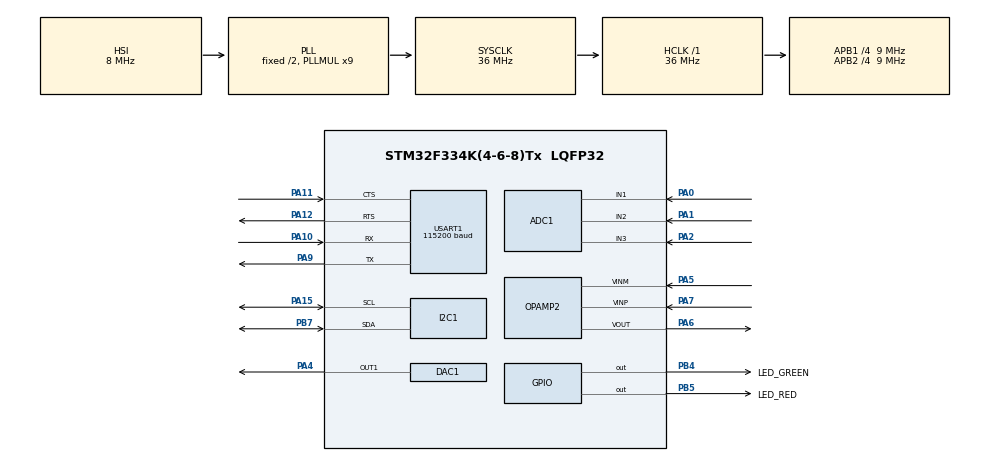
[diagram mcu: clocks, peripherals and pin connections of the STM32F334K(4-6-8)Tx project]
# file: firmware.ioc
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ADC1.Channel-1\#ChannelRegularConversion=ADC_CHANNEL_1
ADC1.NbrOfConversionFlag=1
ADC1.Offset-1\#ChannelRegularConversion=0
ADC1.OffsetNumber-1\#ChannelRegularConversion=ADC_OFFSET_NONE
ADC1.Rank-1\#ChannelRegularConversion=1
ADC1.SamplingTime-1\#ChannelRegularConversion=ADC_SAMPLETIME_1CYCLE_5
ADC1.SubFamily=STM32F334x8
ADC1.master=1
DAC1.DAC_Trigger=DAC_TRIGGER_SOFTWARE
Mcu.Family=STM32F3
Mcu.Name=STM32F334K(4-6-8)Tx
Mcu.Package=LQFP32
NVIC.PriorityGroup=NVIC_PRIORITYGROUP_4
NVIC.RTC_WKUP_IRQn=true\:0\:0\:false\:false\:true\:true\:true\:true
NVIC.USART1_IRQn=true\:0\:0\:false\:false\:true\:true\:true\:true
PA0.Mode=IN1-Single-Ended
PA0.Signal=ADC1_IN1
PA1.Mode=IN2-Single-Ended
PA1.Signal=ADC1_IN2
PA10.Mode=Asynchronous
PA10.Signal=USART1_RX
PA11.Mode=CTS_RTS
PA11.Signal=USART1_CTS
PA12.Mode=CTS_RTS
PA12.Signal=USART1_RTS
PA13.Mode=Serial_Wire
PA13.Signal=SYS_JTMS-SWDIO
PA14.Mode=Serial_Wire
PA14.Signal=SYS_JTCK-SWCLK
PA15.Mode=I2C
PA15.Signal=I2C1_SCL
PA2.Mode=IN3-Single-Ended
PA2.Signal=ADC1_IN3
PA4.Signal=COMP_DAC11_group
PA5.Mode=Standalone
PA5.Signal=OPAMP2_VINM
PA6.Mode=Standalone
PA6.Signal=OPAMP2_VOUT
PA7.Mode=Standalone
PA7.Signal=OPAMP2_VINP
PA9.Mode=Asynchronous
PA9.Signal=USART1_TX
PB4.GPIO_Label=LED_GREEN
PB4.Signal=GPIO_Output
PB5.GPIO_Label=LED_RED
PB5.Signal=GPIO_Output
PB7.Mode=I2C
PB7.Signal=I2C1_SDA
ProjectManager.HeapSize=0x200
ProjectManager.StackSize=0x400
ProjectManager.TargetToolchain=STM32CubeIDE
RCC.AHBFreq_Value=36000000
RCC.APB1CLKDivider=RCC_HCLK_DIV4
RCC.APB1Freq_Value=9000000
RCC.APB1TimFreq_Value=18000000
RCC.APB2CLKDivider=RCC_HCLK_DIV4
RCC.APB2Freq_Value=9000000
RCC.APB2TimFreq_Value=18000000
RCC.CortexFreq_Value=36000000
RCC.HCLKFreq_Value=36000000
RCC.HSE_VALUE=8000000
RCC.HSI_VALUE=8000000
RCC.PLLMUL=RCC_PLL_MUL9
RCC.SYSCLKFreq_VALUE=36000000
RCC.SYSCLKSourceVirtual=RCC_SYSCLKSOURCE_PLLCLK
RCC.VDD_VALUE=3
RTC.WakeUpCounter=12500
SH.COMP_DAC11_group.0=DAC1_OUT1,DAC_OUT1
USART1.BaudRate=115200
USART1.VirtualMode-Asynchronous=VM_ASYNC
VP_RTC_VS_RTC_Activate.Mode=RTC_Enabled
VP_RTC_VS_RTC_Calendar.Mode=RTC_Calendar
VP_RTC_VS_RTC_WakeUp_intern.Mode=WakeUp
board=soft

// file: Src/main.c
/* USER CODE BEGIN Header */
/**
  ******************************************************************************
  * @file           : main.c
  * @brief          : Main program body
  ******************************************************************************
  * @attention
  *
  * Copyright (c) 2022 STMicroelectronics.
  * All rights reserved.
  *
  * This software is licensed under terms that can be found in the LICENSE file
  * in the root directory of this software component.
  * If no LICENSE file comes with this software, it is provided AS-IS.
  *
  ******************************************************************************
  */
/* USER CODE END Header */
#include "main.h"
#include "adc.h"
#include "dac.h"
#include "i2c.h"
#include "opamp.h"
#include "rtc.h"
#include "usart.h"
#include "gpio.h"

/* USER CODE BEGIN Includes */
#include <stdio.h>
/* USER CODE END Includes */

void SystemClock_Config(void);

int main(void)
{

  /* MCU Configuration--------------------------------------------------------*/

  /* Reset of all peripherals, Initializes the Flash interface and the Systick. */
  HAL_Init();

  /* Configure the system clock */
  SystemClock_Config();

  /* Initialize all configured peripherals */
  MX_GPIO_Init();
  MX_RTC_Init();
  MX_ADC1_Init();
  MX_DAC1_Init();
  MX_OPAMP2_Init();
  MX_USART1_UART_Init();
  MX_I2C1_Init();

  /* Infinite loop */
  /* USER CODE BEGIN WHILE */

	int rc = HAL_OPAMP_Start(&hopamp2);
	if (rc != HAL_OK) {
		printf("opamp start error: %d\n\r", rc);
		HAL_GPIO_WritePin(LED_RED_GPIO_Port, LED_RED_Pin, GPIO_PIN_SET);
		HAL_GPIO_WritePin(LED_GREEN_GPIO_Port, LED_GREEN_Pin, GPIO_PIN_SET);
		return -1;
	}

	int phase = 1; // start hi
	int cycle = 0;
	int led_state = 1;

	while (1) {
    /* USER CODE END WHILE */

    /* USER CODE BEGIN 3 */
		HAL_GPIO_WritePin(LED_RED_GPIO_Port, LED_RED_Pin, led_state);
		HAL_GPIO_WritePin(LED_GREEN_GPIO_Port, LED_GREEN_Pin, !led_state);
		led_state = !led_state;
		printf("Hello World, %d\n\r", cycle);
		// need to set first, then start
		// fyi, observed voltages are [0.0601 .. 3.2645]
		HAL_DAC_SetValue(&hdac1, DAC_CHANNEL_1, DAC_ALIGN_12B_R, ((1<<12)-1) * phase);
		HAL_DAC_Start(&hdac1, DAC1_CHANNEL_1);
		phase = !phase;
		HAL_Delay(5000);
		cycle++;
	}
  /* USER CODE END 3 */
}

void SystemClock_Config(void)
{
  RCC_OscInitTypeDef RCC_OscInitStruct = {0};
  RCC_ClkInitTypeDef RCC_ClkInitStruct = {0};
  RCC_PeriphCLKInitTypeDef PeriphClkInit = {0};

  /** Initializes the RCC Oscillators according to the specified parameters
  * in the RCC_OscInitTypeDef structure.
  */
  RCC_OscInitStruct.OscillatorType = RCC_OSCILLATORTYPE_HSI|RCC_OSCILLATORTYPE_LSI;
  RCC_OscInitStruct.HSIState = RCC_HSI_ON;
  RCC_OscInitStruct.HSICalibrationValue = RCC_HSICALIBRATION_DEFAULT;
  RCC_OscInitStruct.LSIState = RCC_LSI_ON;
  RCC_OscInitStruct.PLL.PLLState = RCC_PLL_ON;
  RCC_OscInitStruct.PLL.PLLSource = RCC_PLLSOURCE_HSI;
  RCC_OscInitStruct.PLL.PLLMUL = RCC_PLL_MUL9;
  if (HAL_RCC_OscConfig(&RCC_OscInitStruct) != HAL_OK)
  {
    Error_Handler();
  }

  /** Initializes the CPU, AHB and APB buses clocks
  */
  RCC_ClkInitStruct.ClockType = RCC_CLOCKTYPE_HCLK|RCC_CLOCKTYPE_SYSCLK
                              |RCC_CLOCKTYPE_PCLK1|RCC_CLOCKTYPE_PCLK2;
  RCC_ClkInitStruct.SYSCLKSource = RCC_SYSCLKSOURCE_PLLCLK;
  RCC_ClkInitStruct.AHBCLKDivider = RCC_SYSCLK_DIV1;
  RCC_ClkInitStruct.APB1CLKDivider = RCC_HCLK_DIV4;
  RCC_ClkInitStruct.APB2CLKDivider = RCC_HCLK_DIV4;

  if (HAL_RCC_ClockConfig(&RCC_ClkInitStruct, FLASH_LATENCY_1) != HAL_OK)
  {
    Error_Handler();
  }
  PeriphClkInit.PeriphClockSelection = RCC_PERIPHCLK_USART1|RCC_PERIPHCLK_I2C1
                              |RCC_PERIPHCLK_RTC|RCC_PERIPHCLK_ADC12;
  PeriphClkInit.Usart1ClockSelection = RCC_USART1CLKSOURCE_PCLK1;
  PeriphClkInit.Adc12ClockSelection = RCC_ADC12PLLCLK_DIV1;
  PeriphClkInit.I2c1ClockSelection = RCC_I2C1CLKSOURCE_HSI;
  PeriphClkInit.RTCClockSelection = RCC_RTCCLKSOURCE_LSI;
  if (HAL_RCCEx_PeriphCLKConfig(&PeriphClkInit) != HAL_OK)
  {
    Error_Handler();
  }
}

/* USER CODE BEGIN 4 */
int __io_putchar(int ch) {
	HAL_UART_Transmit(&huart1, (uint8_t *)&ch, 1, 0xFFFF);
	return ch;
}
/* USER CODE END 4 */

void Error_Handler(void)
{
  __disable_irq();
  while (1)
  {
  }
}
